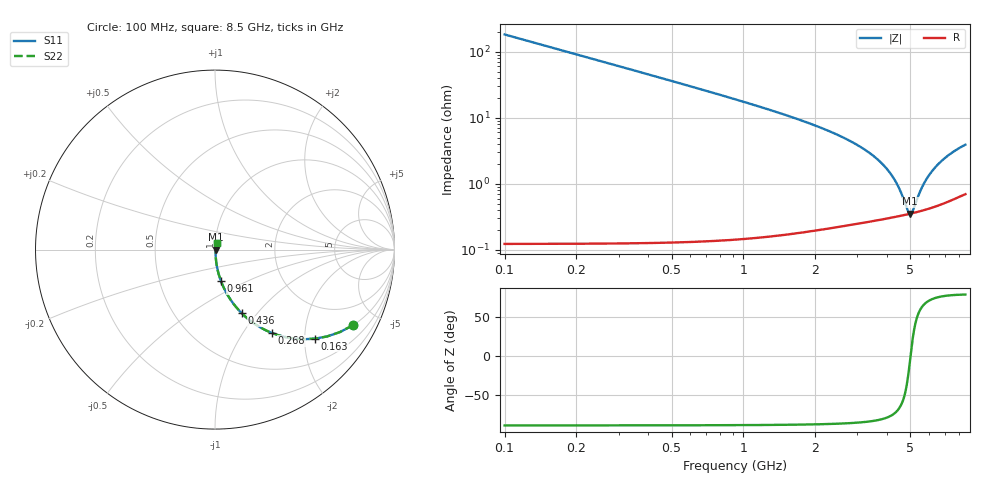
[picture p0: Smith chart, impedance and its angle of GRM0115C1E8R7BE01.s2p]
!Murata Part Number: GRM0115C1E8R7BE01
!These Parameters are Measured in Series Mode Connection
!Data Generated on Mar 30, 2021
!  o--ll--o
!Port1  Port2
!  o------o
!Operation Temp=25[degC], DC Bias Voltage=0[V]
!Freq. Start=100[MHz] Stop=9[GHz] 401[Steps]
# Hz S RI R 50
!Freq.(Hz) S11(Real) S11(Imag) S21(Real) S21(Imag) S12(Real) S12(Imag) S22(Real) S22(Imag)
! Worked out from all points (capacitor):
!   401 points, 100 MHz to 8.5 GHz, reference 50 ohm
!   read as one part in series: C = 8.7 pF near 142 MHz
!   lowest |Z| = 354 mohm at 4.993 GHz (marker M1)
!   series resonance near 5.009 GHz, so ESL is about 120 pH
!   S11 on the Smith chart (normalised r, x): 100 MHz: 1.00, -3.66; 163 MHz: 1.00, -2.24; 268 MHz: 1.00, -1.36; 436 MHz: 1.00, -0.83; 961 MHz: 1.00, -0.37; 8.5 GHz: 1.01, +0.08
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1e8  0.7696 -0.4207  0.2304 0.4207  0.2304 0.4207  0.7696 -0.4207
1.63e8  0.5568 -0.4962  0.4432 0.4962  0.4432 0.4962  0.5568 -0.4962
2.05e8  0.4425 -0.496  0.5575 0.496  0.5575 0.496  0.4425 -0.496
2.68e8  0.3168 -0.4643  0.6832 0.4643  0.6832 0.4643  0.3168 -0.4643
3.52e8  0.2115 -0.4071  0.7885 0.4071  0.7885 0.4071  0.2115 -0.4071
4.36e8  0.1484 -0.354  0.8516 0.354  0.8516 0.354  0.1484 -0.354
6.46e8  0.0729 -0.2576  0.9271 0.2576  0.9271 0.2576  0.0729 -0.2576
9.61e8  0.0337 -0.1765  0.9663 0.1765  0.9663 0.1765  0.0337 -0.1765
1.507e9  0.0136 -0.1082  0.9864 0.1082  0.9864 0.1082  0.0136 -0.1082
2.914e9  0.00411 -0.0408  0.9959 0.0408  0.9959 0.0408  0.00411 -0.0408
3.733e9  0.00331 -0.0214  0.9967 0.0214  0.9967 0.0214  0.00331 -0.0214
4.3e9  0.00326 -0.011  0.9967 0.011  0.9967 0.011  0.00326 -0.011
4.552e9  0.00332 -0.00685  0.9967 0.00685  0.9967 0.00685  0.00332 -0.00685
4.867e9  0.00345 -0.00205  0.9965 0.00205  0.9965 0.00205  0.00345 -0.00205
4.993e9  0.00352 -0.000225  0.9965 0.000225  0.9965 0.000225  0.00352 -0.000225
5.119e9  0.0036 0.00156  0.9964 -0.00156  0.9964 -0.00156  0.0036 0.00156
5.455e9  0.00385 0.0061  0.9961 -0.0061  0.9961 -0.0061  0.00385 0.0061
5.707e9  0.00408 0.00933  0.9959 -0.00933  0.9959 -0.00933  0.00408 0.00933
5.98e9  0.00436 0.0127  0.9956 -0.0127  0.9956 -0.0127  0.00436 0.0127
6.295e9  0.00472 0.0164  0.9953 -0.0164  0.9953 -0.0164  0.00472 0.0164
7.114e9  0.00589 0.0252  0.9941 -0.0252  0.9941 -0.0252  0.00589 0.0252
8.5e9  0.00839 0.038  0.9916 -0.038  0.9916 -0.038  0.00839 0.038
